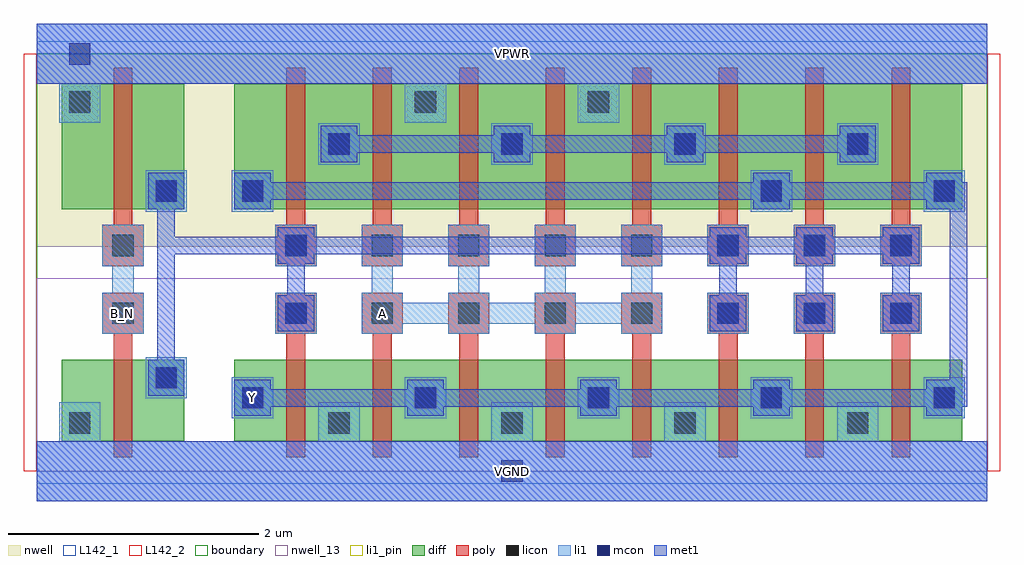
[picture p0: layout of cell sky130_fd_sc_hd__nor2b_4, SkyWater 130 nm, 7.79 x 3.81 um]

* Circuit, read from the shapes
.subckt sky130_fd_sc_hd__nor2b_4 A B_N VGND VPWR Y
XM1 n1 B_N VGND VSUBS sky130_fd_pr__nfet_01v8 w=0.65 l=0.15
XM2 VGND n1 Y VSUBS sky130_fd_pr__nfet_01v8 w=0.65 l=0.15 m=4
XM3 Y A VGND VSUBS sky130_fd_pr__nfet_01v8 w=0.65 l=0.15 m=4
XM4 n1 B_N VPWR n2 sky130_fd_pr__pfet_01v8 w=1 l=0.15
XM5 n3 n1 Y n2 sky130_fd_pr__pfet_01v8 w=1 l=0.15 m=4
XM6 VPWR A n3 n2 sky130_fd_pr__pfet_01v8 w=1 l=0.15 m=4
.ends

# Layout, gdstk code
import gdstk
lib = gdstk.Library(unit=1e-6, precision=1e-09)
def R(c, l, rs):  # rectangles x0, y0, x1, y1
    for r in rs: c.add(gdstk.rectangle(r[:2], r[2:], *l))
def A(c, l, x, y, w, h, nx, ny, dx, dy):  # array of equal rectangles
    R(c, l, [(x+i*dx, y+j*dy, x+i*dx+w, y+j*dy+h) for i in range(nx) for j in range(ny)])
def P(c, l, *ps):  # polygons
    for p in ps: c.add(gdstk.Polygon(p, *l))
nwell_13 = (64, 13)
nwell = (64, 20)
diff = (65, 20)
poly = (66, 20)
licon = (66, 44)
li1_pin = (67, 16)
li1 = (67, 20)
mcon = (67, 44)
met1 = (68, 20)
L142_1 = (142, 1)
L142_2 = (142, 2)
boundary = (235, 4)

sky130_fd_sc_hd__nor2b_4 = lib.new_cell('sky130_fd_sc_hd__nor2b_4')
R(sky130_fd_sc_hd__nor2b_4, nwell_13, [(0,0,7.59,1.54)])
R(sky130_fd_sc_hd__nor2b_4, nwell, [(0,1.79,7.59,3.33)])
A(sky130_fd_sc_hd__nor2b_4, diff, 1.995, 0.24, 0.69, 0.65, 7, 1, 0.69, 0)
A(sky130_fd_sc_hd__nor2b_4, diff, 1.995, 2.09, 0.69, 1, 7, 1, 0.69, 0)
R(sky130_fd_sc_hd__nor2b_4, diff, [(0.2,0.24,1.18,0.89), (0.2,0.24,0.615,0.89), (0.615,0.24,1.18,0.89), (1.58,0.24,7.39,0.89), (1.58,0.24,1.995,0.89), (6.825,0.24,7.39,0.89), (0.2,2.09,1.18,3.09), (0.2,2.09,0.615,3.09), (0.615,2.09,1.18,3.09), (1.58,2.09,7.39,3.09), (1.58,2.09,1.995,3.09), (6.825,2.09,7.39,3.09)])
P(sky130_fd_sc_hd__nor2b_4, poly, [(1.995,0.11),(1.995,1.095),(1.905,1.095),(1.905,1.425),(2.235,1.425),(2.235,1.095),(2.145,1.095),(2.145,0.11)],
  [(5.445,0.11),(5.445,1.095),(5.355,1.095),(5.355,1.425),(5.685,1.425),(5.685,1.095),(5.595,1.095),(5.595,0.11)],
  [(6.135,0.11),(6.135,1.095),(6.045,1.095),(6.045,1.425),(6.375,1.425),(6.375,1.095),(6.285,1.095),(6.285,0.11)],
  [(6.825,0.11),(6.825,1.095),(6.735,1.095),(6.735,1.425),(7.065,1.425),(7.065,1.095),(6.975,1.095),(6.975,0.11)],
  [(1.905,1.635),(1.905,1.965),(1.995,1.965),(1.995,3.22),(2.145,3.22),(2.145,1.965),(2.235,1.965),(2.235,1.635)],
  [(5.355,1.635),(5.355,1.965),(5.445,1.965),(5.445,3.22),(5.595,3.22),(5.595,1.965),(5.685,1.965),(5.685,1.635)],
  [(6.045,1.635),(6.045,1.965),(6.135,1.965),(6.135,3.22),(6.285,3.22),(6.285,1.965),(6.375,1.965),(6.375,1.635)],
  [(6.735,1.635),(6.735,1.965),(6.825,1.965),(6.825,3.22),(6.975,3.22),(6.975,1.965),(7.065,1.965),(7.065,1.635)],
  [(0.615,0.11),(0.615,1.095),(0.525,1.095),(0.525,1.425),(0.855,1.425),(0.855,1.095),(0.765,1.095),(0.765,0.11)],
  [(0.525,1.635),(0.525,1.965),(0.615,1.965),(0.615,3.22),(0.765,3.22),(0.765,1.965),(0.855,1.965),(0.855,1.635)],
  [(2.685,0.11),(2.685,1.095),(2.595,1.095),(2.595,1.425),(2.925,1.425),(2.925,1.095),(2.835,1.095),(2.835,0.11)],
  [(3.375,0.11),(3.375,1.095),(3.285,1.095),(3.285,1.425),(3.615,1.425),(3.615,1.095),(3.525,1.095),(3.525,0.11)],
  [(4.065,0.11),(4.065,1.095),(3.975,1.095),(3.975,1.425),(4.305,1.425),(4.305,1.095),(4.215,1.095),(4.215,0.11)],
  [(4.755,0.11),(4.755,1.095),(4.665,1.095),(4.665,1.425),(4.995,1.425),(4.995,1.095),(4.905,1.095),(4.905,0.11)],
  [(2.595,1.635),(2.595,1.965),(2.685,1.965),(2.685,3.22),(2.835,3.22),(2.835,1.965),(2.925,1.965),(2.925,1.635)],
  [(3.285,1.635),(3.285,1.965),(3.375,1.965),(3.375,3.22),(3.525,3.22),(3.525,1.965),(3.615,1.965),(3.615,1.635)],
  [(3.975,1.635),(3.975,1.965),(4.065,1.965),(4.065,3.22),(4.215,3.22),(4.215,1.965),(4.305,1.965),(4.305,1.635)],
  [(4.665,1.635),(4.665,1.965),(4.755,1.965),(4.755,3.22),(4.905,3.22),(4.905,1.965),(4.995,1.965),(4.995,1.635)])
A(sky130_fd_sc_hd__nor2b_4, licon, 2.33, 0.3, 0.17, 0.17, 4, 2, 1.38, 2.225)
A(sky130_fd_sc_hd__nor2b_4, licon, 1.64, 0.5, 0.17, 0.17, 5, 1, 1.38, 0)
A(sky130_fd_sc_hd__nor2b_4, licon, 1.985, 1.175, 0.17, 0.17, 8, 2, 0.69, 0.54)
R(sky130_fd_sc_hd__nor2b_4, licon, [(0.26,0.3,0.43,0.47), (0.95,0.66,1.12,0.83), (0.605,1.175,0.775,1.345), (0.605,1.715,0.775,1.885), (0.95,2.15,1.12,2.32), (1.64,2.15,1.81,2.32), (5.78,2.15,5.95,2.32), (7.16,2.15,7.33,2.32), (0.26,2.86,0.43,3.03), (3.02,2.86,3.19,3.03), (4.4,2.86,4.57,3.03)])
R(sky130_fd_sc_hd__nor2b_4, li1_pin, [(0,-0.24,7.59,0.24), (1.56,0.42,1.89,0.75), (0,3.09,7.59,3.57)])
P(sky130_fd_sc_hd__nor2b_4, li1_pin, [(2.595,1.095),(2.595,1.425),(2.675,1.425),(2.675,1.635),(2.595,1.635),(2.595,1.965),(2.925,1.965),(2.925,1.635),(2.845,1.635),(2.845,1.425),(2.925,1.425),(2.925,1.345),(3.285,1.345),(3.285,1.425),(3.365,1.425),(3.365,1.635),(3.285,1.635),(3.285,1.965),(3.615,1.965),(3.615,1.635),(3.535,1.635),(3.535,1.425),(3.615,1.425),(3.615,1.345),(3.975,1.345),(3.975,1.425),(4.055,1.425),(4.055,1.635),(3.975,1.635),(3.975,1.965),(4.305,1.965),(4.305,1.635),(4.225,1.635),(4.225,1.425),(4.305,1.425),(4.305,1.345),(4.665,1.345),(4.665,1.425),(4.745,1.425),(4.745,1.635),(4.665,1.635),(4.665,1.965),(4.995,1.965),(4.995,1.635),(4.915,1.635),(4.915,1.425),(4.995,1.425),(4.995,1.095),(4.665,1.095),(4.665,1.175),(4.305,1.175),(4.305,1.095),(3.975,1.095),(3.975,1.175),(3.615,1.175),(3.615,1.095),(3.285,1.095),(3.285,1.175),(2.925,1.175),(2.925,1.095)],
  [(0.525,1.095),(0.525,1.425),(0.605,1.425),(0.605,1.635),(0.525,1.635),(0.525,1.965),(0.855,1.965),(0.855,1.635),(0.775,1.635),(0.775,1.425),(0.855,1.425),(0.855,1.095)])
A(sky130_fd_sc_hd__nor2b_4, li1, 1.56, 0.42, 0.33, 0.33, 5, 1, 1.38, 0)
A(sky130_fd_sc_hd__nor2b_4, li1, 5.355, 1.095, 0.33, 0.33, 3, 2, 0.69, 0.54)
A(sky130_fd_sc_hd__nor2b_4, li1, 2.25, 2.445, 0.33, 0.33, 4, 1, 1.38, 0)
R(sky130_fd_sc_hd__nor2b_4, li1, [(0.87,0.58,1.2,0.91), (1.905,1.095,2.235,1.425), (1.905,1.635,2.235,1.965), (0.87,2.07,1.2,2.4), (1.56,2.07,1.89,2.4), (5.7,2.07,6.03,2.4), (7.08,2.07,7.41,2.4)])
P(sky130_fd_sc_hd__nor2b_4, li1, [(0.525,1.095),(0.525,1.425),(0.605,1.425),(0.605,1.635),(0.525,1.635),(0.525,1.965),(0.855,1.965),(0.855,1.635),(0.775,1.635),(0.775,1.425),(0.855,1.425),(0.855,1.095)],
  [(0.18,2.78),(0.18,3.09),(0,3.09),(0,3.57),(7.59,3.57),(7.59,3.09),(4.65,3.09),(4.65,2.78),(4.32,2.78),(4.32,3.09),(3.27,3.09),(3.27,2.78),(2.94,2.78),(2.94,3.09),(0.51,3.09),(0.51,2.78)],
  [(0,-0.24),(0,0.24),(0.18,0.24),(0.18,0.55),(0.51,0.55),(0.51,0.24),(2.25,0.24),(2.25,0.55),(2.58,0.55),(2.58,0.24),(3.63,0.24),(3.63,0.55),(3.96,0.55),(3.96,0.24),(5.01,0.24),(5.01,0.55),(5.34,0.55),(5.34,0.24),(6.39,0.24),(6.39,0.55),(6.72,0.55),(6.72,0.24),(7.59,0.24),(7.59,-0.24)],
  [(2.595,1.095),(2.595,1.425),(2.675,1.425),(2.675,1.635),(2.595,1.635),(2.595,1.965),(2.925,1.965),(2.925,1.635),(2.845,1.635),(2.845,1.425),(2.925,1.425),(2.925,1.345),(3.285,1.345),(3.285,1.425),(3.365,1.425),(3.365,1.635),(3.285,1.635),(3.285,1.965),(3.615,1.965),(3.615,1.635),(3.535,1.635),(3.535,1.425),(3.615,1.425),(3.615,1.345),(3.975,1.345),(3.975,1.425),(4.055,1.425),(4.055,1.635),(3.975,1.635),(3.975,1.965),(4.305,1.965),(4.305,1.635),(4.225,1.635),(4.225,1.425),(4.305,1.425),(4.305,1.345),(4.665,1.345),(4.665,1.425),(4.745,1.425),(4.745,1.635),(4.665,1.635),(4.665,1.965),(4.995,1.965),(4.995,1.635),(4.915,1.635),(4.915,1.425),(4.995,1.425),(4.995,1.095),(4.665,1.095),(4.665,1.175),(4.305,1.175),(4.305,1.095),(3.975,1.095),(3.975,1.175),(3.615,1.175),(3.615,1.095),(3.285,1.095),(3.285,1.175),(2.925,1.175),(2.925,1.095)])
A(sky130_fd_sc_hd__nor2b_4, mcon, 1.64, 0.5, 0.17, 0.17, 5, 1, 1.38, 0)
A(sky130_fd_sc_hd__nor2b_4, mcon, 5.435, 1.175, 0.17, 0.17, 3, 2, 0.69, 0.54)
A(sky130_fd_sc_hd__nor2b_4, mcon, 2.33, 2.525, 0.17, 0.17, 4, 1, 1.38, 0)
R(sky130_fd_sc_hd__nor2b_4, mcon, [(3.71,-0.085,3.88,0.085), (0.95,0.66,1.12,0.83), (1.985,1.175,2.155,1.345), (1.985,1.715,2.155,1.885), (0.95,2.15,1.12,2.32), (1.64,2.15,1.81,2.32), (5.78,2.15,5.95,2.32), (7.16,2.15,7.33,2.32), (0.26,3.245,0.43,3.415)])
R(sky130_fd_sc_hd__nor2b_4, met1, [(0,-0.24,7.59,0.24), (0,3.09,7.59,3.57)])
P(sky130_fd_sc_hd__nor2b_4, met1, [(0.89,0.6),(0.89,0.89),(0.965,0.89),(0.965,2.09),(0.89,2.09),(0.89,2.38),(1.18,2.38),(1.18,2.09),(1.105,2.09),(1.105,1.87),(1.925,1.87),(1.925,1.945),(2.215,1.945),(2.215,1.87),(5.375,1.87),(5.375,1.945),(5.665,1.945),(5.665,1.87),(6.065,1.87),(6.065,1.945),(6.355,1.945),(6.355,1.87),(6.755,1.87),(6.755,1.945),(7.045,1.945),(7.045,1.655),(6.97,1.655),(6.97,1.405),(7.045,1.405),(7.045,1.115),(6.755,1.115),(6.755,1.405),(6.83,1.405),(6.83,1.655),(6.755,1.655),(6.755,1.73),(6.355,1.73),(6.355,1.655),(6.28,1.655),(6.28,1.405),(6.355,1.405),(6.355,1.115),(6.065,1.115),(6.065,1.405),(6.14,1.405),(6.14,1.655),(6.065,1.655),(6.065,1.73),(5.665,1.73),(5.665,1.655),(5.59,1.655),(5.59,1.405),(5.665,1.405),(5.665,1.115),(5.375,1.115),(5.375,1.405),(5.45,1.405),(5.45,1.655),(5.375,1.655),(5.375,1.73),(2.215,1.73),(2.215,1.655),(2.14,1.655),(2.14,1.405),(2.215,1.405),(2.215,1.115),(1.925,1.115),(1.925,1.405),(2,1.405),(2,1.655),(1.925,1.655),(1.925,1.73),(1.105,1.73),(1.105,0.89),(1.18,0.89),(1.18,0.6)],
  [(1.58,0.44),(1.58,0.73),(1.87,0.73),(1.87,0.655),(2.96,0.655),(2.96,0.73),(3.25,0.73),(3.25,0.655),(4.34,0.655),(4.34,0.73),(4.63,0.73),(4.63,0.655),(5.72,0.655),(5.72,0.73),(6.01,0.73),(6.01,0.655),(7.1,0.655),(7.1,0.73),(7.29,0.73),(7.29,2.09),(7.1,2.09),(7.1,2.165),(6.01,2.165),(6.01,2.09),(5.72,2.09),(5.72,2.165),(1.87,2.165),(1.87,2.09),(1.58,2.09),(1.58,2.38),(1.87,2.38),(1.87,2.305),(5.72,2.305),(5.72,2.38),(6.01,2.38),(6.01,2.305),(7.1,2.305),(7.1,2.38),(7.39,2.38),(7.39,2.305),(7.43,2.305),(7.43,0.515),(7.39,0.515),(7.39,0.44),(7.1,0.44),(7.1,0.515),(6.01,0.515),(6.01,0.44),(5.72,0.44),(5.72,0.515),(4.63,0.515),(4.63,0.44),(4.34,0.44),(4.34,0.515),(3.25,0.515),(3.25,0.44),(2.96,0.44),(2.96,0.515),(1.87,0.515),(1.87,0.44)],
  [(2.27,2.465),(2.27,2.755),(2.56,2.755),(2.56,2.68),(3.65,2.68),(3.65,2.755),(3.94,2.755),(3.94,2.68),(5.03,2.68),(5.03,2.755),(5.32,2.755),(5.32,2.68),(6.41,2.68),(6.41,2.755),(6.7,2.755),(6.7,2.465),(6.41,2.465),(6.41,2.54),(5.32,2.54),(5.32,2.465),(5.03,2.465),(5.03,2.54),(3.94,2.54),(3.94,2.465),(3.65,2.465),(3.65,2.54),(2.56,2.54),(2.56,2.465)])
R(sky130_fd_sc_hd__nor2b_4, L142_1, [(0,-0.1,7.59,0), (0,3.33,7.59,3.43)])
R(sky130_fd_sc_hd__nor2b_4, L142_2, [(-0.1,0,0,3.33), (7.59,0,7.69,3.33)])
R(sky130_fd_sc_hd__nor2b_4, boundary, [(0,0,7.59,3.33)])
sky130_fd_sc_hd__nor2b_4.add(gdstk.Label('Y', (1.725,0.585), layer=67, texttype=5))
sky130_fd_sc_hd__nor2b_4.add(gdstk.Label('A', (2.76,1.26), layer=67, texttype=5))
sky130_fd_sc_hd__nor2b_4.add(gdstk.Label('B_N', (0.69,1.26), layer=67, texttype=5))
sky130_fd_sc_hd__nor2b_4.add(gdstk.Label('VGND', (3.795,0), layer=67, texttype=5))
sky130_fd_sc_hd__nor2b_4.add(gdstk.Label('VPWR', (3.795,3.33), layer=67, texttype=5))
sky130_fd_sc_hd__nor2b_4.add(gdstk.Label('VGND', (3.795,0), layer=68, texttype=5))
sky130_fd_sc_hd__nor2b_4.add(gdstk.Label('VPWR', (3.795,3.33), layer=68, texttype=5))

lib.write_gds('sky130_fd_sc_hd__nor2b_4.gds')
